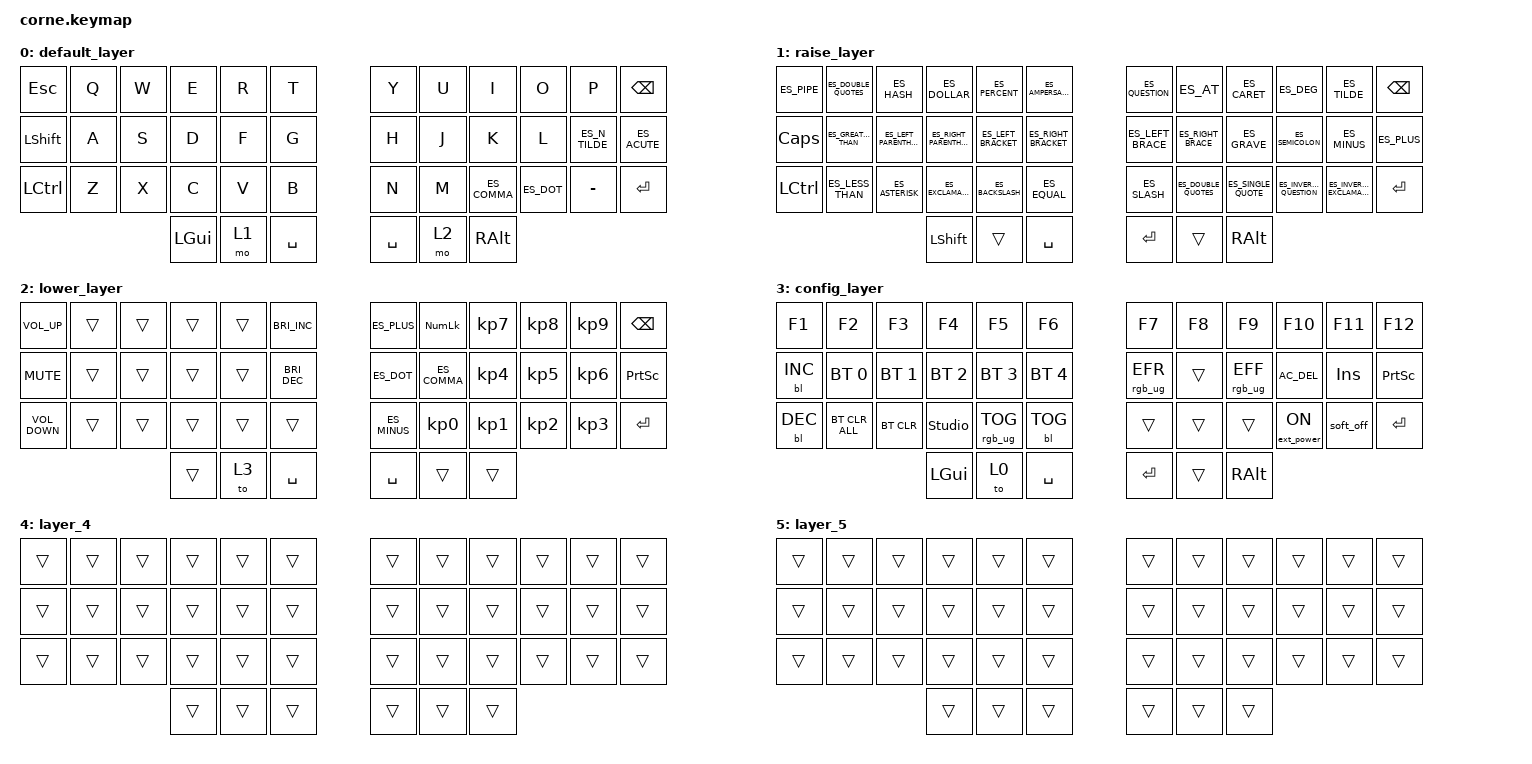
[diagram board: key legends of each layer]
/*
 * Copyright (c) 2020 The ZMK Contributors
 *
 * SPDX-License-Identifier: MIT
 */

#include <behaviors.dtsi>
#include <dt-bindings/zmk/backlight.h>
#include <dt-bindings/zmk/bt.h>
#include <dt-bindings/zmk/ext_power.h>
#include <dt-bindings/zmk/keys.h>
#include <dt-bindings/zmk/rgb.h>
#include "keys_es_latin_american.h"

// Only turn off if the key is held 3 seconds

&soft_off { hold-time-ms = <3000>; };

// LEDs per half (27 = underglow + per-key; use 10 if you only have underglow)

&led_strip { chain-length = <27>; };

/ {
    keymap {
        compatible = "zmk,keymap";

        default_layer {
            // -----------------------------------------------------------------------------------------
            // |  TAB |  Q  |  W  |  E  |  R  |  T  |   |  Y  |  U   |  I  |  O  |  P  | BSPC |
            // | CTRL |  A  |  S  |  D  |  F  |  G  |   |  H  |  J   |  K  |  L  |  ;  |  '   |
            // | SHFT |  Z  |  X  |  C  |  V  |  B  |   |  N  |  M   |  ,  |  .  |  /  | ESC  |
            //                    | GUI | LWR | SPC |   | ENT | RSE  | ALT |

            bindings = <
&kp ESC    &kp Q  &kp W  &kp E     &kp R  &kp T        &kp Y      &kp U  &kp I         &kp O       &kp P           &kp BSPC
&kp LSHFT  &kp A  &kp S  &kp D     &kp F  &kp G        &kp H      &kp J  &kp K         &kp L       &kp ES_N_TILDE  &kp ES_ACUTE
&kp LCTRL  &kp Z  &kp X  &kp C     &kp V  &kp B        &kp N      &kp M  &kp ES_COMMA  &kp ES_DOT  &kp MINUS       &kp ENTER
                         &kp LGUI  &mo 1  &kp SPACE    &kp SPACE  &mo 2  &kp RALT
            >;
        };

        raise_layer {
            // -----------------------------------------------------------------------------------------
            // |  TAB |  !  |  @  |  #  |  $  |  %  |   |  ^  |  &  |  *  |  (  |  )  | BSPC |
            // | CTRL |     |     |     |     |     |   |  -  |  =  |  [  |  ]  |  \  |  `   |
            // | SHFT |     |     |     |     |     |   |  _  |  +  |  {  |  }  | "|" |  ~   |
            //                    | GUI |     | SPC |   | ENT |     | ALT |

            bindings = <
&kp ES_PIPE   &kp ES_DOUBLE_QUOTES  &kp ES_HASH              &kp ES_DOLLAR             &kp ES_PERCENT       &kp ES_AMPERSAND        &kp ES_QUESTION    &kp ES_AT             &kp ES_CARET         &kp ES_DEG                &kp ES_TILDE                 &kp BSPC
&kp CAPSLOCK  &kp ES_GREATER_THAN   &kp ES_LEFT_PARENTHESIS  &kp ES_RIGHT_PARENTHESIS  &kp ES_LEFT_BRACKET  &kp ES_RIGHT_BRACKET    &kp ES_LEFT_BRACE  &kp ES_RIGHT_BRACE    &kp ES_GRAVE         &kp ES_SEMICOLON          &kp ES_MINUS                 &kp ES_PLUS
&kp LCTRL     &kp ES_LESS_THAN      &kp ES_ASTERISK          &kp ES_EXCLAMATION        &kp ES_BACKSLASH     &kp ES_EQUAL            &kp ES_SLASH       &kp ES_DOUBLE_QUOTES  &kp ES_SINGLE_QUOTE  &kp ES_INVERTED_QUESTION  &kp ES_INVERTED_EXCLAMATION  &kp RETURN
                                                             &kp LSHIFT                &trans               &kp SPACE               &kp RET            &trans                &kp RALT
            >;
        };

        lower_layer {
            bindings = <
&kp C_VOL_UP       &trans  &trans  &trans  &trans  &kp C_BRIGHTNESS_INC    &kp ES_PLUS   &kp KP_NUMLOCK  &kp KP_N7  &kp KP_N8  &kp KP_N9  &kp BACKSPACE
&kp K_MUTE         &trans  &trans  &trans  &trans  &kp C_BRIGHTNESS_DEC    &kp ES_DOT    &kp ES_COMMA    &kp KP_N4  &kp KP_N5  &kp KP_N6  &kp PRINTSCREEN
&kp C_VOLUME_DOWN  &trans  &trans  &trans  &trans  &trans                  &kp ES_MINUS  &kp KP_N0       &kp KP_N1  &kp KP_N2  &kp KP_N3  &kp RETURN
                                   &trans  &to 3   &kp SPACE               &kp SPACE     &trans          &trans
            >;
        };

        config_layer {
            // -----------------------------------------------------------------------------------------
            // |  TAB |  1  |  2  |  3  |  4  |  5  |   |  6  |  7  |  8  |  9  |  0  | BSPC |
            // | BTCLR| BT1 | BT2 | BT3 | BT4 | BT5 |   | LFT | DWN |  UP | RGT |     |      |
            // | SHFT |     |     |     |     |     |   |     |     |     |     |     |      |
            //                    | GUI |     | SPC |   | ENT |     | ALT |

            bindings = <
&kp F1      &kp F2          &kp F3        &kp F4          &kp F5           &kp F6          &kp F7           &kp F8  &kp F9           &kp F10           &kp F11     &kp F12
&bl BL_INC  &bt BT_SEL 0    &bt BT_SEL 1  &bt BT_SEL 2    &bt BT_SEL 3     &bt BT_SEL 4    &rgb_ug RGB_EFR  &trans  &rgb_ug RGB_EFF  &kp C_AC_DEL      &kp INSERT  &kp PRINTSCREEN
&bl BL_DEC  &bt BT_CLR_ALL  &bt BT_CLR    &studio_unlock  &rgb_ug RGB_TOG  &bl BL_TOG      &trans           &trans  &trans           &ext_power EP_ON  &soft_off   &kp ENTER
                                          &kp LGUI        &to 0            &kp SPACE       &kp RET          &trans  &kp RALT
            >;
        };

        layer_4 {
            bindings = <
&trans  &trans  &trans  &trans  &trans  &trans    &trans  &trans  &trans  &trans  &trans  &trans
&trans  &trans  &trans  &trans  &trans  &trans    &trans  &trans  &trans  &trans  &trans  &trans
&trans  &trans  &trans  &trans  &trans  &trans    &trans  &trans  &trans  &trans  &trans  &trans
                        &trans  &trans  &trans    &trans  &trans  &trans
            >;
        };

        layer_5 {
            bindings = <
&trans  &trans  &trans  &trans  &trans  &trans    &trans  &trans  &trans  &trans  &trans  &trans
&trans  &trans  &trans  &trans  &trans  &trans    &trans  &trans  &trans  &trans  &trans  &trans
&trans  &trans  &trans  &trans  &trans  &trans    &trans  &trans  &trans  &trans  &trans  &trans
                        &trans  &trans  &trans    &trans  &trans  &trans
            >;
        };
    };
};
